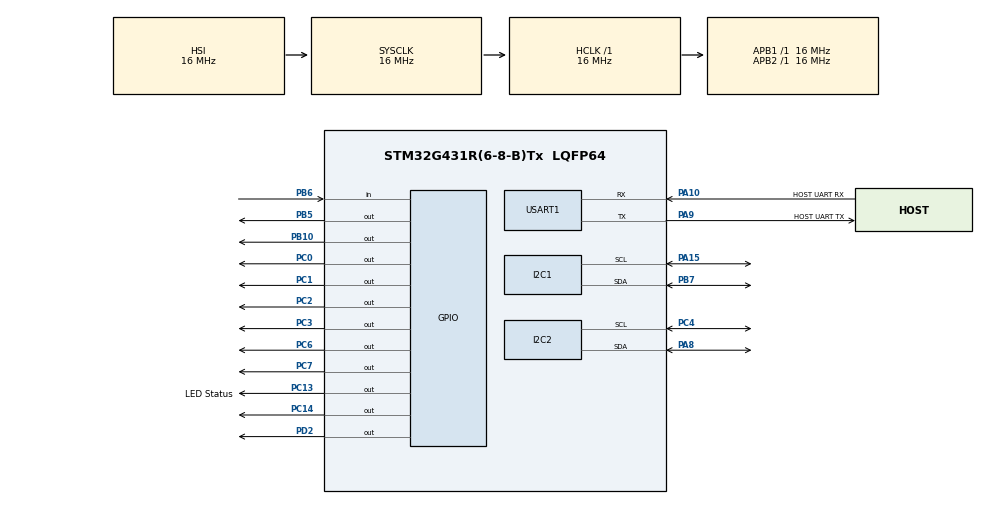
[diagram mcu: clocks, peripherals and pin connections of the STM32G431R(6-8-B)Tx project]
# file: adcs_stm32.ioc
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I2C1.OwnAddress=42
I2C1.Timing=0x00503D58
I2C2.OwnAddress=68
I2C2.Timing=0x00503D58
Mcu.Family=STM32G4
Mcu.Name=STM32G431R(6-8-B)Tx
Mcu.Package=LQFP64
NVIC.I2C1_ER_IRQn=true\:0\:0\:false\:false\:true\:true\:true\:true
NVIC.I2C1_EV_IRQn=true\:0\:0\:false\:false\:true\:true\:true\:true
NVIC.PriorityGroup=NVIC_PRIORITYGROUP_4
PA10.GPIO_Label=HOST UART RX
PA10.Mode=Asynchronous
PA10.Signal=USART1_RX
PA13.Mode=Serial_Wire
PA13.Signal=SYS_JTMS-SWDIO
PA14.Mode=Serial_Wire
PA14.Signal=SYS_JTCK-SWCLK
PA15.Mode=I2C
PA15.Signal=I2C1_SCL
PA8.Mode=I2C
PA8.Signal=I2C2_SDA
PA9.GPIO_Label=HOST UART TX
PA9.Mode=Asynchronous
PA9.Signal=USART1_TX
PB10.Signal=GPIO_Output
PB5.Signal=GPIO_Output
PB6.GPIO_PuPd=GPIO_PULLUP
PB6.Signal=GPIO_Input
PB7.Mode=I2C
PB7.Signal=I2C1_SDA
PC0.Signal=GPIO_Output
PC1.Signal=GPIO_Output
PC13.GPIO_Label=LED Status
PC13.Signal=GPIO_Output
PC14-OSC32_IN.Signal=GPIO_Output
PC2.Signal=GPIO_Output
PC3.Signal=GPIO_Output
PC4.Mode=I2C
PC4.Signal=I2C2_SCL
PC6.Signal=GPIO_Output
PC7.Signal=GPIO_Output
PD2.Signal=GPIO_Output
ProjectManager.HeapSize=0x200
ProjectManager.StackSize=0x400
ProjectManager.TargetToolchain=STM32CubeIDE
RCC.AHBFreq_Value=16000000
RCC.APB1Freq_Value=16000000
RCC.APB1TimFreq_Value=16000000
RCC.APB2Freq_Value=16000000
RCC.APB2TimFreq_Value=16000000
RCC.CortexFreq_Value=16000000
RCC.EXTERNAL_CLOCK_VALUE=12288000
RCC.HCLKFreq_Value=16000000
RCC.HSE_VALUE=8000000
RCC.HSI48_VALUE=48000000
RCC.HSI_VALUE=16000000
RCC.LSE_VALUE=32768
RCC.SYSCLKFreq_VALUE=16000000
RCC.USBFreq_Value=64000000
RCC.VCOOutputFreq_Value=128000000
USART1.VirtualMode-Asynchronous=VM_ASYNC
VP_SYS_VS_DBSignals.Mode=DisableDeadBatterySignals
board=custom

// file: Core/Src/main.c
/* USER CODE BEGIN Header */
/**
  ******************************************************************************
  * @file           : main.c
  * @brief          : Main program body
  ******************************************************************************
  * @attention
  *
  * Copyright (c) 2026 STMicroelectronics.
  * All rights reserved.
  *
  * This software is licensed under terms that can be found in the LICENSE file
  * in the root directory of this software component.
  * If no LICENSE file comes with this software, it is provided AS-IS.
  *
  ******************************************************************************
  */
/* USER CODE END Header */
#include "main.h"

/* USER CODE BEGIN Includes */
#include "adcs_i2c_slave.h"
#include "adcs_board.h"
#include "adcs_log.h"
#include <stdio.h>
/* USER CODE END Includes */

I2C_HandleTypeDef hi2c1;
I2C_HandleTypeDef hi2c2;

UART_HandleTypeDef huart1;

/* USER CODE BEGIN PV */
static bool s_logger_ready = false;
/* USER CODE END PV */

void SystemClock_Config(void);
static void MX_GPIO_Init(void);
static void MX_USART1_UART_Init(void);
static void MX_I2C1_Init(void);
static void MX_I2C2_Init(void);

int main(void)
{

  /* MCU Configuration--------------------------------------------------------*/

  /* Reset of all peripherals, Initializes the Flash interface and the Systick. */
  HAL_Init();

  /* Configure the system clock */
  SystemClock_Config();

  /* Initialize all configured peripherals */
  MX_GPIO_Init();
  MX_USART1_UART_Init();
  MX_I2C1_Init();
  MX_I2C2_Init();
  /* USER CODE BEGIN 2 */

  adcs_log_write(
    ADCS_LOG_LEVEL_INFO,
    "BOOT",
    "ADCS firmware started"
  );

  adcs_log_write(
    ADCS_LOG_LEVEL_INFO,
    "BOOT",
    "System clock=%lu Hz",
    (unsigned long)HAL_RCC_GetSysClockFreq()
  );

  if (adcs_i2c_slave_init(&hi2c1) != HAL_OK)
  {
    adcs_log_write(
      ADCS_LOG_LEVEL_ERROR,
      "I2C",
      "Failed to enter slave listen mode"
    );

    Error_Handler();
  }

  adcs_log_write(
    ADCS_LOG_LEVEL_INFO,
    "I2C",
    "Listening as 7-bit slave address 0x%02X",
    (unsigned int)ADCS_I2C_7BIT_ADDRESS
  );

  /* All peripheral initialization must complete before task startup. */
  adcs_application_start();

  /* USER CODE END 2 */

  /* Infinite loop */
  while (1)
  {

    /* USER CODE BEGIN 3 */
    Error_Handler(); /* The scheduler must never return. */
  }

  /* USER CODE END 3 */
}

void SystemClock_Config(void)
{
  RCC_OscInitTypeDef RCC_OscInitStruct = {0};
  RCC_ClkInitTypeDef RCC_ClkInitStruct = {0};

  /** Configure the main internal regulator output voltage
  */
  HAL_PWREx_ControlVoltageScaling(PWR_REGULATOR_VOLTAGE_SCALE1);

  /** Initializes the RCC Oscillators according to the specified parameters
  * in the RCC_OscInitTypeDef structure.
  */
  RCC_OscInitStruct.OscillatorType = RCC_OSCILLATORTYPE_HSI;
  RCC_OscInitStruct.HSIState = RCC_HSI_ON;
  RCC_OscInitStruct.HSICalibrationValue = RCC_HSICALIBRATION_DEFAULT;
  RCC_OscInitStruct.PLL.PLLState = RCC_PLL_NONE;
  if (HAL_RCC_OscConfig(&RCC_OscInitStruct) != HAL_OK)
  {
    Error_Handler();
  }

  /** Initializes the CPU, AHB and APB buses clocks
  */
  RCC_ClkInitStruct.ClockType = RCC_CLOCKTYPE_HCLK|RCC_CLOCKTYPE_SYSCLK
                              |RCC_CLOCKTYPE_PCLK1|RCC_CLOCKTYPE_PCLK2;
  RCC_ClkInitStruct.SYSCLKSource = RCC_SYSCLKSOURCE_HSI;
  RCC_ClkInitStruct.AHBCLKDivider = RCC_SYSCLK_DIV1;
  RCC_ClkInitStruct.APB1CLKDivider = RCC_HCLK_DIV1;
  RCC_ClkInitStruct.APB2CLKDivider = RCC_HCLK_DIV1;

  if (HAL_RCC_ClockConfig(&RCC_ClkInitStruct, FLASH_LATENCY_0) != HAL_OK)
  {
    Error_Handler();
  }
}

static void MX_I2C1_Init(void)
{

  /* USER CODE BEGIN I2C1_Init 1 */

  /* USART1 is initialized first; make I2C initialization failures visible. */
  if (!s_logger_ready)
  {
    adcs_log_init(&huart1);
    s_logger_ready = true;
  }

  /* USER CODE END I2C1_Init 1 */
  hi2c1.Instance = I2C1;
  hi2c1.Init.Timing = 0x00503D58;
  hi2c1.Init.OwnAddress1 = 84;
  hi2c1.Init.AddressingMode = I2C_ADDRESSINGMODE_7BIT;
  hi2c1.Init.DualAddressMode = I2C_DUALADDRESS_DISABLE;
  hi2c1.Init.OwnAddress2 = 0;
  hi2c1.Init.OwnAddress2Masks = I2C_OA2_NOMASK;
  hi2c1.Init.GeneralCallMode = I2C_GENERALCALL_DISABLE;
  hi2c1.Init.NoStretchMode = I2C_NOSTRETCH_DISABLE;
  if (HAL_I2C_Init(&hi2c1) != HAL_OK)
  {
    Error_Handler();
  }

  /** Configure Analogue filter
  */
  if (HAL_I2CEx_ConfigAnalogFilter(&hi2c1, I2C_ANALOGFILTER_ENABLE) != HAL_OK)
  {
    Error_Handler();
  }

  /** Configure Digital filter
  */
  if (HAL_I2CEx_ConfigDigitalFilter(&hi2c1, 0) != HAL_OK)
  {
    Error_Handler();
  }

}

static void MX_I2C2_Init(void)
{

  /* USER CODE BEGIN I2C2_Init 0 */
  __HAL_RCC_GPIOA_CLK_ENABLE();
  __HAL_RCC_GPIOC_CLK_ENABLE();
  __HAL_RCC_I2C2_CLK_ENABLE();

  GPIO_InitTypeDef GPIO_InitStruct = {0};

  // PC4 -> I2C2_SCL
  GPIO_InitStruct.Pin = GPIO_PIN_4;
  GPIO_InitStruct.Mode = GPIO_MODE_AF_OD;
  GPIO_InitStruct.Pull = GPIO_PULLUP;
  GPIO_InitStruct.Speed = GPIO_SPEED_FREQ_LOW;
  GPIO_InitStruct.Alternate = GPIO_AF4_I2C2;
  HAL_GPIO_Init(GPIOC, &GPIO_InitStruct);

  // PA8 -> I2C_SDA
  GPIO_InitStruct.Pin = GPIO_PIN_8;
  GPIO_InitStruct.Mode = GPIO_MODE_AF_OD;
  GPIO_InitStruct.Pull = GPIO_PULLUP;
  GPIO_InitStruct.Speed = GPIO_SPEED_FREQ_LOW;
  GPIO_InitStruct.Alternate = GPIO_AF4_I2C2;
  HAL_GPIO_Init(GPIOA, &GPIO_InitStruct);

  /* USER CODE END I2C2_Init 0 */

  hi2c2.Instance = I2C2;
  hi2c2.Init.Timing = 0x00503D58;
  hi2c2.Init.OwnAddress1 = 136;
  hi2c2.Init.AddressingMode = I2C_ADDRESSINGMODE_7BIT;
  hi2c2.Init.DualAddressMode = I2C_DUALADDRESS_DISABLE;
  hi2c2.Init.OwnAddress2 = 0;
  hi2c2.Init.OwnAddress2Masks = I2C_OA2_NOMASK;
  hi2c2.Init.GeneralCallMode = I2C_GENERALCALL_DISABLE;
  hi2c2.Init.NoStretchMode = I2C_NOSTRETCH_DISABLE;
  if (HAL_I2C_Init(&hi2c2) != HAL_OK)
  {
    Error_Handler();
  }

  /** Configure Analogue filter
  */
  if (HAL_I2CEx_ConfigAnalogFilter(&hi2c2, I2C_ANALOGFILTER_ENABLE) != HAL_OK)
  {
    Error_Handler();
  }

  /** Configure Digital filter
  */
  if (HAL_I2CEx_ConfigDigitalFilter(&hi2c2, 0) != HAL_OK)
  {
    Error_Handler();
  }

}

static void MX_USART1_UART_Init(void)
{

  huart1.Instance = USART1;
  huart1.Init.BaudRate = 115200;
  huart1.Init.WordLength = UART_WORDLENGTH_8B;
  huart1.Init.StopBits = UART_STOPBITS_1;
  huart1.Init.Parity = UART_PARITY_NONE;
  huart1.Init.Mode = UART_MODE_TX_RX;
  huart1.Init.HwFlowCtl = UART_HWCONTROL_NONE;
  huart1.Init.OverSampling = UART_OVERSAMPLING_16;
  huart1.Init.OneBitSampling = UART_ONE_BIT_SAMPLE_DISABLE;
  huart1.Init.ClockPrescaler = UART_PRESCALER_DIV1;
  huart1.AdvancedInit.AdvFeatureInit = UART_ADVFEATURE_NO_INIT;
  if (HAL_UART_Init(&huart1) != HAL_OK)
  {
    Error_Handler();
  }
  if (HAL_UARTEx_SetTxFifoThreshold(&huart1, UART_TXFIFO_THRESHOLD_1_8) != HAL_OK)
  {
    Error_Handler();
  }
  if (HAL_UARTEx_SetRxFifoThreshold(&huart1, UART_RXFIFO_THRESHOLD_1_8) != HAL_OK)
  {
    Error_Handler();
  }
  if (HAL_UARTEx_DisableFifoMode(&huart1) != HAL_OK)
  {
    Error_Handler();
  }

}

static void MX_GPIO_Init(void)
{
  GPIO_InitTypeDef GPIO_InitStruct = {0};

  /* GPIO Ports Clock Enable */
  __HAL_RCC_GPIOC_CLK_ENABLE();
  __HAL_RCC_GPIOB_CLK_ENABLE();
  __HAL_RCC_GPIOA_CLK_ENABLE();
  __HAL_RCC_GPIOD_CLK_ENABLE();

  /*Configure GPIO pin Output Level */
  HAL_GPIO_WritePin(GPIOC, LED_Status_Pin|GPIO_PIN_14|GPIO_PIN_0|GPIO_PIN_1
                          |GPIO_PIN_2|GPIO_PIN_3|GPIO_PIN_6|GPIO_PIN_7, GPIO_PIN_RESET);

  /*Configure GPIO pin Output Level */
  HAL_GPIO_WritePin(GPIOB, GPIO_PIN_10|GPIO_PIN_5, GPIO_PIN_RESET);

  /*Configure GPIO pin Output Level */
  HAL_GPIO_WritePin(GPIOD, GPIO_PIN_2, GPIO_PIN_RESET);

  /*Configure GPIO pins : LED_Status_Pin PC14 PC0 PC1
                           PC2 PC3 PC6 PC7 */
  GPIO_InitStruct.Pin = LED_Status_Pin|GPIO_PIN_14|GPIO_PIN_0|GPIO_PIN_1
                          |GPIO_PIN_2|GPIO_PIN_3|GPIO_PIN_6|GPIO_PIN_7;
  GPIO_InitStruct.Mode = GPIO_MODE_OUTPUT_PP;
  GPIO_InitStruct.Pull = GPIO_NOPULL;
  GPIO_InitStruct.Speed = GPIO_SPEED_FREQ_LOW;
  HAL_GPIO_Init(GPIOC, &GPIO_InitStruct);

  /*Configure GPIO pins : PB10 PB5 */
  GPIO_InitStruct.Pin = GPIO_PIN_10|GPIO_PIN_5;
  GPIO_InitStruct.Mode = GPIO_MODE_OUTPUT_PP;
  GPIO_InitStruct.Pull = GPIO_NOPULL;
  GPIO_InitStruct.Speed = GPIO_SPEED_FREQ_LOW;
  HAL_GPIO_Init(GPIOB, &GPIO_InitStruct);

  /*Configure GPIO pin : PD2 */
  GPIO_InitStruct.Pin = GPIO_PIN_2;
  GPIO_InitStruct.Mode = GPIO_MODE_OUTPUT_PP;
  GPIO_InitStruct.Pull = GPIO_NOPULL;
  GPIO_InitStruct.Speed = GPIO_SPEED_FREQ_LOW;
  HAL_GPIO_Init(GPIOD, &GPIO_InitStruct);

  /*Configure GPIO pin : PB6 */
  GPIO_InitStruct.Pin = GPIO_PIN_6;
  GPIO_InitStruct.Mode = GPIO_MODE_INPUT;
  GPIO_InitStruct.Pull = GPIO_PULLUP;
  HAL_GPIO_Init(GPIOB, &GPIO_InitStruct);

}

void Error_Handler(void)
{
  /* USER CODE BEGIN Error_Handler_Debug */
  if (s_logger_ready)
  {
    (void)adcs_log_write(
      ADCS_LOG_LEVEL_ERROR,
      "FATAL",
      "Error_Handler entered"
    );
  }

  __disable_irq();
  while (1)
  {
    HAL_GPIO_TogglePin(LED_Status_GPIO_Port, LED_Status_Pin);
    for (volatile uint32_t delay = 0U; delay < 200000U; ++delay)
    {
      __NOP();
    }
  }
  /* USER CODE END Error_Handler_Debug */
}
